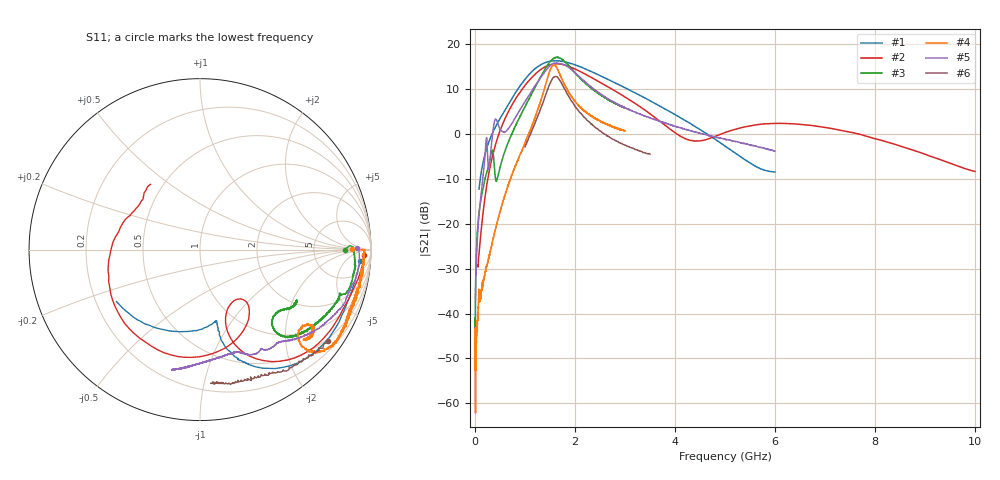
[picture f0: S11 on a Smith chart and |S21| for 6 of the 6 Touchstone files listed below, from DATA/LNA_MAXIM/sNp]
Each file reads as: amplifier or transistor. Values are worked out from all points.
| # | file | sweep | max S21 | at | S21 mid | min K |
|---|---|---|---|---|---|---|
| 1 | BGU6005N2.s2p | 80 MHz to 6 GHz | 16.4 dB | 1.605 GHz | 16.4 dB at 1.615 GHz | 0.78 |
| 2 | BGU70052.s2p | 40 MHz to 10 GHz | 15.7 dB | 1.615 GHz | 13.4 dB at 2.2 GHz | - |
| 3 | max2659.s2p | 100 kHz to 3 GHz | 17.2 dB | 1.639 GHz | 16.2 dB at 1.5 GHz | -213.63 |
| 4 | max2679-deembed.s2p | 100 kHz to 3 GHz | 15.5 dB | 1.579 GHz | 14.2 dB at 1.5 GHz | 0.95 |
| 5 | max2686.s2p | 10 MHz to 6 GHz | 15.9 dB | 1.601 GHz | 5.9 dB at 3.005 GHz | 2.54 |
| 6 | max2693l.s2p | 1 GHz to 3.5 GHz | 12.9 dB | 1.613 GHz | 3.0 dB at 2.25 GHz | 0.89 |
